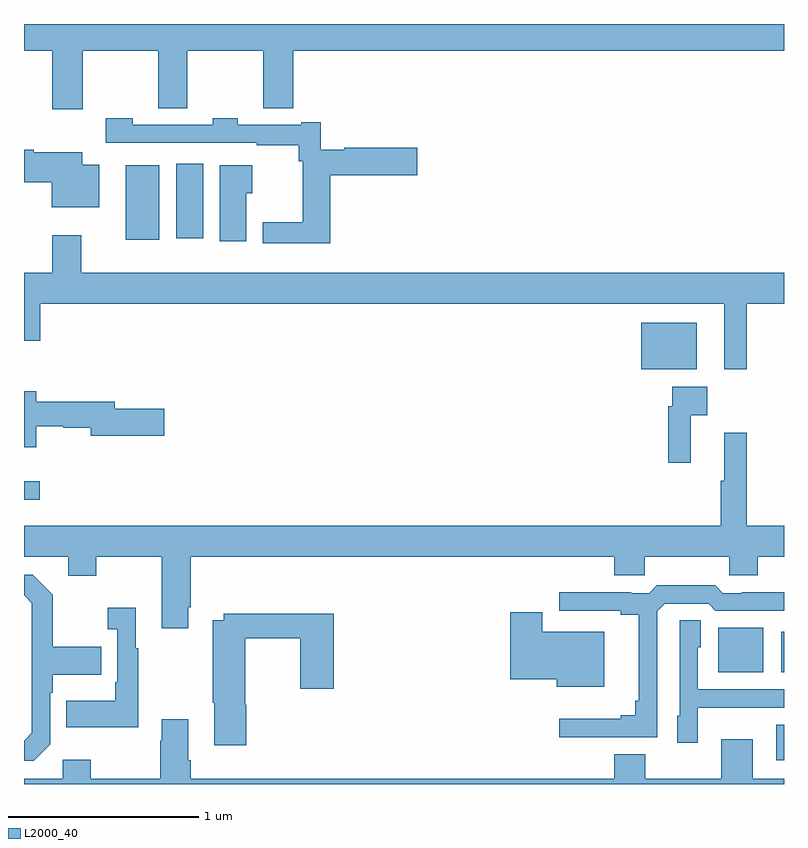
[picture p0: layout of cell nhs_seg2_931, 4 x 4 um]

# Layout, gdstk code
import gdstk
lib = gdstk.Library(unit=1e-6, precision=1e-09)
def R(c, l, rs):  # rectangles x0, y0, x1, y1
    for r in rs: c.add(gdstk.rectangle(r[:2], r[2:], *l))
def P(c, l, *ps):  # polygons
    for p in ps: c.add(gdstk.Polygon(p, *l))
L2000_40 = (2000, 40)

nhs_seg2_931 = lib.new_cell('nhs_seg2_931')
R(nhs_seg2_931, L2000_40, [(162.959,619.926,163,620.112), (162.653,620.387,162.892,620.623), (162.986,620.387,163,620.602), (159,621.296,159.082,621.393), (162.248,621.983,162.541,622.228), (159.536,622.664,159.712,623.056), (159.8,622.673,159.943,623.065)])
P(nhs_seg2_931, L2000_40, [(159.309,623.66),(159.706,623.66),(159.706,623.356),(159.86,623.356),(159.86,623.66),(160.258,623.66),(160.258,623.356),(160.418,623.356),(160.418,623.66),(163,623.66),(163,623.8),(159,623.8),(159,623.66),(159.149,623.66),(159.149,623.352),(159.309,623.352)],
  [(160.613,623.003),(161.071,623.003),(161.071,623.15),(160.686,623.15),(160.686,623.138),(160.563,623.138),(160.563,623.284),(160.46,623.284),(160.46,623.271),(160.125,623.271),(160.125,623.304),(159.993,623.304),(159.993,623.271),(159.573,623.271),(159.573,623.304),(159.429,623.304),(159.429,623.175),(160.225,623.175),(160.225,623.163),(160.447,623.163),(160.447,623.078),(160.466,623.078),(160.466,622.756),(160.257,622.756),(160.257,622.646),(160.613,622.646)],
  [(159.397,623.059),(159.307,623.059),(159.307,623.125),(159.05,623.125),(159.05,623.138),(159,623.138),(159,622.966),(159.146,622.966),(159.146,622.835),(159.397,622.835)],
  [(160.171,622.909),(160.201,622.909),(160.201,623.056),(160.031,623.056),(160.031,622.656),(160.171,622.656)],
  [(162.803,622.328),(163,622.328),(163,622.492),(159.301,622.492),(159.301,622.687),(159.149,622.687),(159.149,622.492),(159,622.492),(159,622.134),(159.086,622.134),(159.086,622.328),(162.686,622.328),(162.686,621.984),(162.803,621.984)],
  [(162.509,621.74),(162.595,621.74),(162.595,621.892),(162.411,621.892),(162.411,621.788),(162.391,621.788),(162.391,621.492),(162.509,621.492)],
  [(159.064,621.684),(159.207,621.684),(159.207,621.676),(159.35,621.676),(159.35,621.634),(159.739,621.634),(159.739,621.776),(159.478,621.776),(159.478,621.812),(159.064,621.812),(159.064,621.868),(159,621.868),(159,621.572),(159.064,621.572)],
  [(159.865,620.731),(159.878,620.731),(159.878,620.996),(162.107,620.996),(162.107,620.898),(162.267,620.898),(162.267,620.996),(162.712,620.996),(162.712,620.898),(162.862,620.898),(162.862,620.996),(163,620.996),(163,621.16),(162.803,621.16),(162.803,621.649),(162.686,621.649),(162.686,621.396),(162.667,621.396),(162.667,621.16),(159,621.16),(159,620.996),(159.233,620.996),(159.233,620.897),(159.381,620.897),(159.381,620.996),(159.725,620.996),(159.725,620.619),(159.865,620.619)],
  [(159.138,620.01),(159.138,620.279),(159.151,620.279),(159.151,620.375),(159.407,620.375),(159.407,620.523),(159.151,620.523),(159.151,620.795),(159.045,620.901),(159,620.901),(159,620.793),(159.042,620.751),(159.042,620.07),(159,620.028),(159,619.923),(159.051,619.923)],
  [(162.333,620.709),(162.372,620.748),(162.603,620.748),(162.639,620.712),(163,620.712),(163,620.81),(162.778,620.81),(162.778,620.805),(162.678,620.805),(162.639,620.845),(162.331,620.845),(162.291,620.805),(162.197,620.805),(162.197,620.81),(161.817,620.81),(161.817,620.712),(162.14,620.712),(162.14,620.69),(162.236,620.69),(162.236,620.239),(162.217,620.239),(162.217,620.162),(162.14,620.162),(162.14,620.143),(161.817,620.143),(161.817,620.046),(162.333,620.046)],
  [(159.601,620.515),(159.589,620.515),(159.589,620.728),(159.441,620.728),(159.441,620.615),(159.492,620.615),(159.492,620.335),(159.48,620.335),(159.48,620.239),(159.223,620.239),(159.223,620.099),(159.601,620.099)],
  [(162.055,620.602),(161.728,620.602),(161.728,620.704),(161.558,620.704),(161.558,620.351),(161.804,620.351),(161.804,620.312),(162.055,620.312)],
  [(160.169,620.216),(160.164,620.216),(160.164,620.566),(160.453,620.566),(160.453,620.301),(160.631,620.301),(160.631,620.695),(160.05,620.695),(160.05,620.662),(159.994,620.662),(159.994,620.227),(160.001,620.227),(160.001,620.004),(160.169,620.004)],
  [(162.546,620.201),(162.863,620.201),(162.863,620.202),(163,620.202),(163,620.298),(162.546,620.298),(162.546,620.52),(162.562,620.52),(162.562,620.663),(162.45,620.663),(162.45,620.16),(162.437,620.16),(162.437,620.016),(162.546,620.016)],
  [(163,619.828),(162.835,619.828),(162.835,620.035),(162.671,620.035),(162.671,619.828),(162.271,619.828),(162.271,619.957),(162.107,619.957),(162.107,619.828),(159.878,619.828),(159.878,619.924),(159.865,619.924),(159.865,620.14),(159.725,620.14),(159.725,620.027),(159.718,620.027),(159.718,619.828),(159.351,619.828),(159.351,619.927),(159.204,619.927),(159.204,619.828),(159,619.828),(159,619.8),(163,619.8)])

lib.write_gds('nhs_seg2_931.gds')
